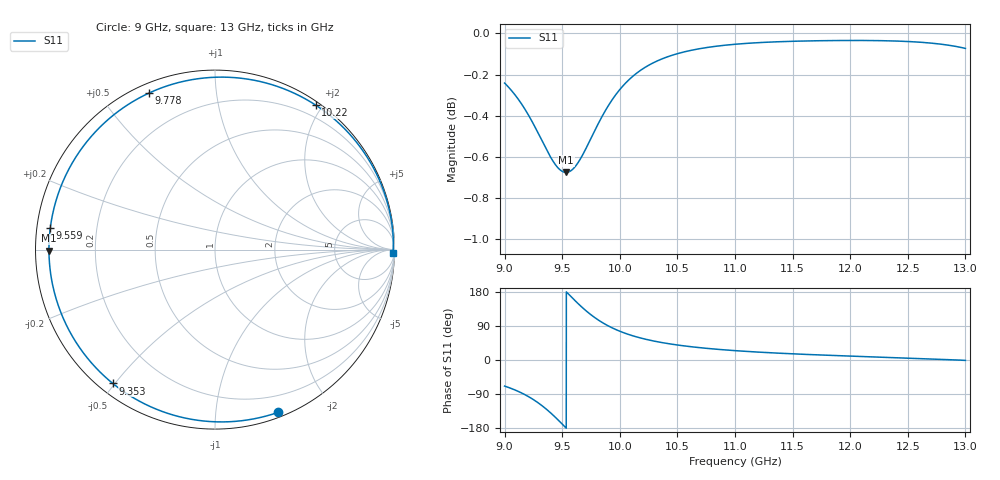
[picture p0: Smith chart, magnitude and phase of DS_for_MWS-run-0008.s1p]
! TOUCHSTONE file generated by CST DESIGN STUDIO
! Date and time: Tue Feb  4 15:41:45 2025
! Project name: C:\Work\MatlabApps\UnitCellOptimizationMatlab\CST\unitcell.cst
! Tree item: Tasks\Sweep1\SPara1\S-Parameters
! Header version: 2024
! Port assignment regex: !\s*Touchstone port\s*([0-9]+)\s*=\s*(CST MWS port|CST DES external port|CST DES block port)\s*(.+)\s* \(\"(.*)\"\)(\s*mode\s*([0-9]+))?.*
! Touchstone port assignment:
! Touchstone port 1 = CST DES external port 1 ("")
# GHz S MA R 50
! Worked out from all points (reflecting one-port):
!   4001 points, 9 GHz to 13 GHz, reference 50 ohm
!   lowest |S11| = -0.7 dB at 9.534 GHz (marker M1), VSWR 25.73, Z = 1.94 - j0.174 ohm
!   phase of S11 starts at -69 deg and turns -292 deg over the sweep
!   S11 on the Smith chart (normalised r, x): 9 GHz: 0.04, -1.46; 9.353 GHz: 0.04, -0.49; 9.559 GHz: 0.04, +0.06; 9.778 GHz: 0.04, +0.66; 10.22 GHz: 0.04, +1.91; 13 GHz: open
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9  0.9726 -68.8
9.101  0.9653 -80.5
9.21  0.955 -97.1
9.285  0.9465 -111.6
9.353  0.9383 -127.4
9.422  0.9308 -145.8
9.463  0.9276 -157.8
9.5  0.9257 -169.1
9.534  0.9252 -179.6
9.559  0.9255 172.6
9.612  0.9281 156.4
9.673  0.9338 138.9
9.725  0.9399 125.3
9.778  0.9465 112.9
9.824  0.9521 103.4
9.875  0.9578 94.1
9.937  0.9639 84.3
10  0.9691 75.9
10.103  0.9758 64.8
10.219  0.9812 55.1
10.348  0.9854 46.9
10.5  0.9887 39.6
10.721  0.9918 31.7
11  0.994 24.7
11.5  0.9956 16.3
12  0.9961 10.3
12.5  0.9955 5.2
13  0.9916 -1.0
